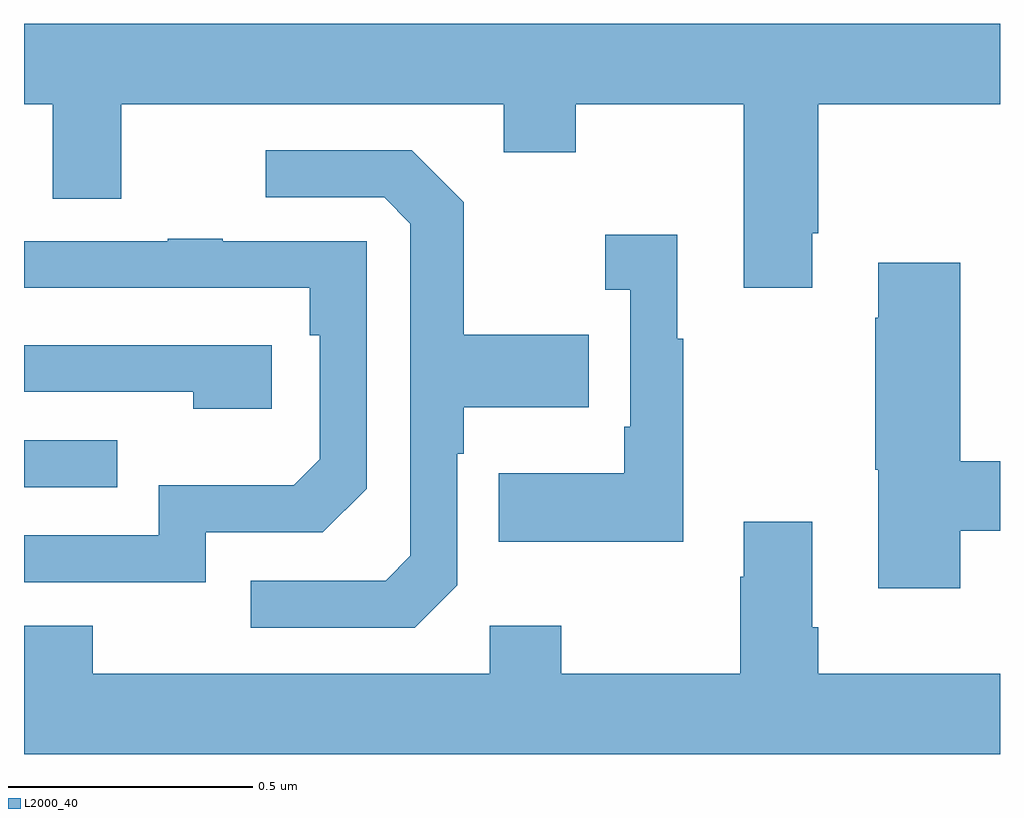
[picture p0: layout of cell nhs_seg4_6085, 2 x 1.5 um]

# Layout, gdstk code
import gdstk
lib = gdstk.Library(unit=1e-6, precision=1e-09)
def R(c, l, rs):  # rectangles x0, y0, x1, y1
    for r in rs: c.add(gdstk.rectangle(r[:2], r[2:], *l))
def P(c, l, *ps):  # polygons
    for p in ps: c.add(gdstk.Polygon(p, *l))
L2000_40 = (2000, 40)

nhs_seg4_6085 = lib.new_cell('nhs_seg4_6085')
R(nhs_seg4_6085, L2000_40, [(186,766.731,186.191,766.827)])
P(nhs_seg4_6085, L2000_40, [(187.615,767.251),(187.628,767.251),(187.628,767.516),(188,767.516),(188,767.68),(186,767.68),(186,767.516),(186.059,767.516),(186.059,767.322),(186.199,767.322),(186.199,767.516),(186.983,767.516),(186.983,767.417),(187.131,767.417),(187.131,767.516),(187.475,767.516),(187.475,767.139),(187.615,767.139)],
  [(186.888,766.53),(186.888,766.799),(186.901,766.799),(186.901,766.895),(187.157,766.895),(187.157,767.043),(186.901,767.043),(186.901,767.315),(186.795,767.421),(186.495,767.421),(186.495,767.325),(186.738,767.325),(186.792,767.271),(186.792,766.59),(186.741,766.539),(186.465,766.539),(186.465,766.443),(186.801,766.443)],
  [(187.351,767.035),(187.339,767.035),(187.339,767.248),(187.191,767.248),(187.191,767.135),(187.242,767.135),(187.242,766.855),(187.23,766.855),(187.23,766.759),(186.973,766.759),(186.973,766.619),(187.351,766.619)],
  [(186.372,766.638),(186.612,766.638),(186.702,766.728),(186.702,767.235),(186.407,767.235),(186.407,767.24),(186.295,767.24),(186.295,767.235),(186,767.235),(186,767.139),(186.586,767.139),(186.586,767.042),(186.606,767.042),(186.606,766.788),(186.553,766.735),(186.276,766.735),(186.276,766.632),(186,766.632),(186,766.536),(186.372,766.536)],
  [(187.919,766.642),(188,766.642),(188,766.784),(187.919,766.784),(187.919,767.191),(187.751,767.191),(187.751,767.078),(187.744,767.078),(187.744,766.767),(187.751,766.767),(187.751,766.524),(187.919,766.524)],
  [(186.508,767.022),(186,767.022),(186,766.926),(186.347,766.926),(186.347,766.892),(186.508,766.892)],
  [(188,766.348),(187.628,766.348),(187.628,766.444),(187.615,766.444),(187.615,766.66),(187.475,766.66),(187.475,766.547),(187.468,766.547),(187.468,766.348),(187.101,766.348),(187.101,766.447),(186.954,766.447),(186.954,766.348),(186.141,766.348),(186.141,766.447),(186,766.447),(186,766.184),(188,766.184)])

lib.write_gds('nhs_seg4_6085.gds')
